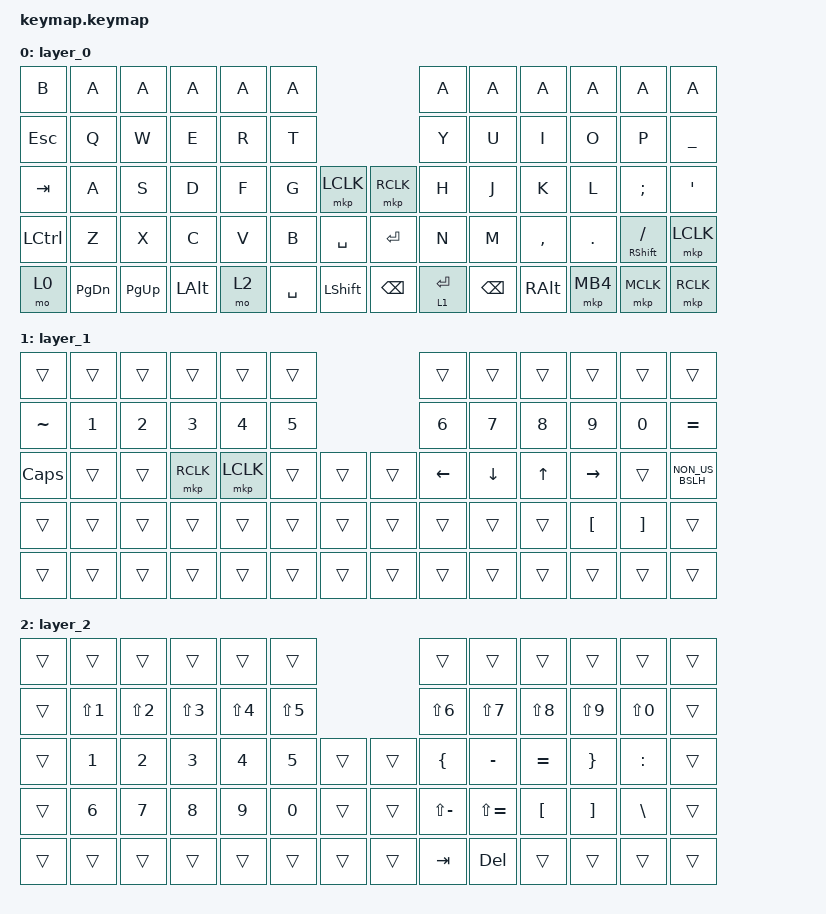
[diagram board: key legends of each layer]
#include <behaviors.dtsi>
#include <dt-bindings/zmk/bt.h>
#include <dt-bindings/zmk/keys.h>
#include <dt-bindings/zmk/pointing.h>

/ {
    combos {
        compatible = "zmk,combos";

        bt_clear {
            bindings = <&bt BT_CLR>;
            key-positions = <28 29>;
            layers = <2>;
        };
    };

    keymap {
        compatible = "zmk,keymap";

        layer_0 {
            bindings = <
&kp B      &kp A          &kp A        &kp A     &kp A  &kp A                                     &kp A        &kp A     &kp A      &kp A     &kp A                 &kp A
&kp ESC    &kp Q          &kp W        &kp E     &kp R  &kp T                                     &kp Y        &kp U     &kp I      &kp O     &kp P                 &kp UNDER
&kp TAB    &kp A          &kp S        &kp D     &kp F  &kp G      &mkp LCLK       &mkp RCLK      &kp H        &kp J     &kp K      &kp L     &kp SEMI              &kp SQT
&kp LCTRL  &kp Z          &kp X        &kp C     &kp V  &kp B      &kp SPACE       &kp RET        &kp N        &kp M     &kp COMMA  &kp DOT   &mt RIGHT_SHIFT FSLH  &mkp LCLK
&mo 0      &kp PAGE_DOWN  &kp PAGE_UP  &kp LALT  &mo 2  &kp SPACE  &kp LEFT_SHIFT  &kp BACKSPACE  &lt 1 ENTER  &kp BSPC  &kp RALT   &mkp MB4  &mkp MCLK             &mkp RCLK
            >;
        };

        layer_1 {
            bindings = <
&trans        &trans  &trans        &trans        &trans        &trans                  &trans        &trans          &trans        &trans            &trans             &trans
&kp TILDE     &kp N1  &kp NUMBER_2  &kp NUMBER_3  &kp NUMBER_4  &kp N5                  &kp NUMBER_6  &kp N7          &kp N8        &kp N9            &kp N0             &kp EQUAL
&kp CAPSLOCK  &trans  &trans        &mkp RCLK     &mkp LCLK     &trans  &trans  &trans  &kp LEFT      &kp DOWN_ARROW  &kp UP_ARROW  &kp RIGHT         &trans             &kp NON_US_BSLH
&trans        &trans  &trans        &trans        &trans        &trans  &trans  &trans  &trans        &trans          &trans        &kp LEFT_BRACKET  &kp RIGHT_BRACKET  &trans
&trans        &trans  &trans        &trans        &trans        &trans  &trans  &trans  &trans        &trans          &trans        &trans            &trans             &trans
            >;
        };

        layer_2 {
            bindings = <
&trans  &trans            &trans            &trans      &trans      &trans                      &trans          &trans         &trans            &trans             &trans         &trans
&trans  &kp LS(NUMBER_1)  &kp LS(NUMBER_2)  &kp LS(N3)  &kp LS(N4)  &kp LS(N5)                  &kp LS(N6)      &kp LS(N7)     &kp LS(N8)        &kp LS(N9)         &kp LS(N0)     &trans
&trans  &kp N1            &kp N2            &kp N3      &kp N4      &kp N5      &trans  &trans  &kp LEFT_BRACE  &kp MINUS      &kp EQUAL         &kp RIGHT_BRACE    &kp COLON      &trans
&trans  &kp N6            &kp N7            &kp N8      &kp N9      &kp N0      &trans  &trans  &kp LS(MINUS)   &kp LS(EQUAL)  &kp LEFT_BRACKET  &kp RIGHT_BRACKET  &kp BACKSLASH  &trans
&trans  &trans            &trans            &trans      &trans      &trans      &trans  &trans  &kp TAB         &kp DEL        &trans            &trans             &trans         &trans
            >;
        };
    };
};
